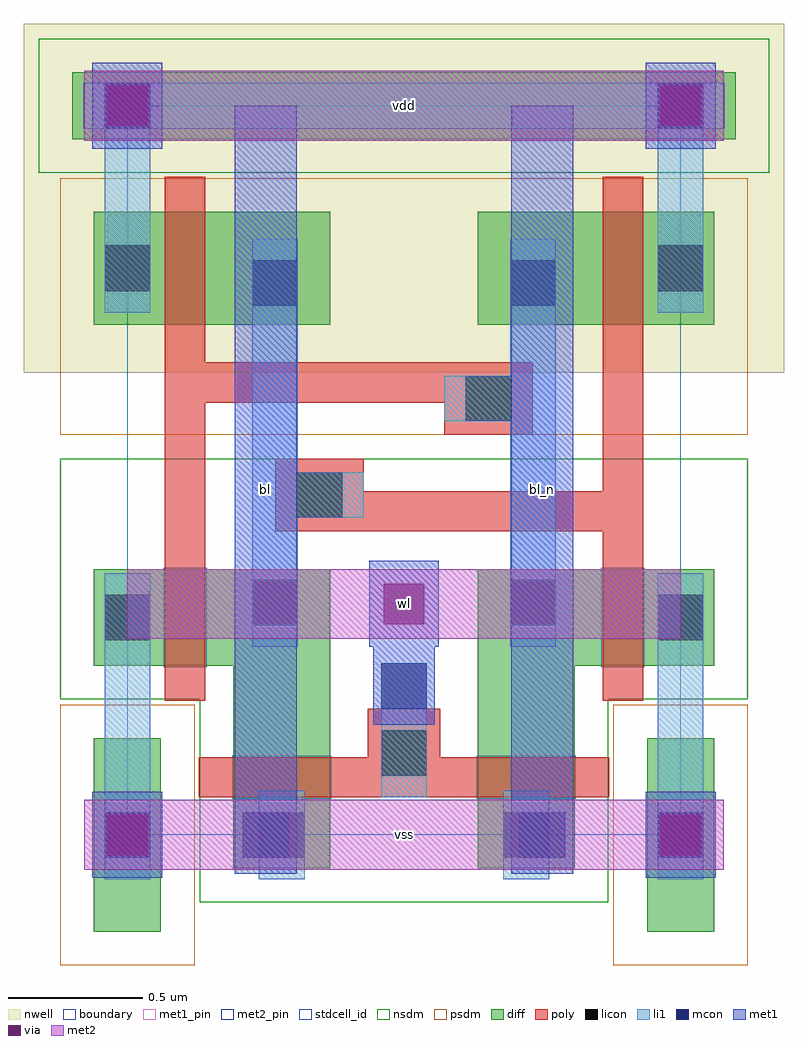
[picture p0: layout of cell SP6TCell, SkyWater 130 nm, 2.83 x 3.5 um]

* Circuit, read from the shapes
.subckt SP6TCell bl bl_n vdd vss wl
XM1 n1 n2 vss VSUBS sky130_fd_pr__nfet_01v8 w=0.36 l=0.15
XM2 n1 wl bl VSUBS sky130_fd_pr__nfet_01v8 w=0.36 l=0.15
XM3 n2 wl bl_n VSUBS sky130_fd_pr__nfet_01v8 w=0.36 l=0.15
XM4 vss n1 n2 VSUBS sky130_fd_pr__nfet_01v8 w=0.36 l=0.15
XM5 n1 n2 vdd n3 sky130_fd_pr__pfet_01v8 w=0.42 l=0.15
XM6 vdd n1 n2 n3 sky130_fd_pr__pfet_01v8 w=0.42 l=0.15
.ends

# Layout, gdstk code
import gdstk
lib = gdstk.Library(unit=1e-6, precision=1e-09)
def R(c, l, rs):  # rectangles x0, y0, x1, y1
    for r in rs: c.add(gdstk.rectangle(r[:2], r[2:], *l))
def P(c, l, *ps):  # polygons
    for p in ps: c.add(gdstk.Polygon(p, *l))
nwell = (64, 20)
diff = (65, 20)
poly = (66, 20)
licon = (66, 44)
li1 = (67, 20)
mcon = (67, 44)
met1_pin = (68, 16)
met1 = (68, 20)
via = (68, 44)
met2_pin = (69, 16)
met2 = (69, 20)
stdcell_id = (81, 4)
nsdm = (93, 44)
psdm = (94, 20)
boundary = (235, 4)

sp6tcell = lib.new_cell('SP6TCell')
R(sp6tcell, nwell, [(-0.385,1.72,2.445,3.02)])
R(sp6tcell, diff, [(-0.125,-0.36,0.125,0.36), (1.935,-0.36,2.185,0.36), (-0.125,1.9,0.755,2.32), (1.305,1.9,2.185,2.32), (-0.205,2.59,2.265,2.84)])
P(sp6tcell, diff, [(1.305,-0.125),(1.305,0.99),(2.185,0.99),(2.185,0.63),(1.665,0.63),(1.665,-0.125)],
  [(0.395,-0.125),(0.395,0.63),(-0.125,0.63),(-0.125,0.99),(0.755,0.99),(0.755,-0.125)])
P(sp6tcell, poly, [(1.77,0.5),(1.77,1.13),(0.55,1.13),(0.55,1.4),(0.88,1.4),(0.88,1.28),(1.77,1.28),(1.77,2.45),(1.92,2.45),(1.92,0.5)],
  [(0.14,0.5),(0.14,2.45),(0.29,2.45),(0.29,1.76),(1.51,1.76),(1.51,1.49),(1.18,1.49),(1.18,1.61),(0.29,1.61),(0.29,0.5)],
  [(0.265,0.14),(0.265,0.29),(0.895,0.29),(0.895,0.47),(1.165,0.47),(1.165,0.29),(1.795,0.29),(1.795,0.14)])
R(sp6tcell, licon, [(-0.085,-0.085,0.085,0.085), (0.49,-0.085,0.66,0.085), (1.4,-0.085,1.57,0.085), (1.975,-0.085,2.145,0.085), (0.945,0.22,1.115,0.39), (-0.085,0.725,0.085,0.895), (1.975,0.725,2.145,0.895), (0.465,0.78,0.635,0.95), (1.425,0.78,1.595,0.95), (0.63,1.18,0.8,1.35), (1.26,1.54,1.43,1.71), (0.465,1.97,0.635,2.14), (1.425,1.97,1.595,2.14), (-0.085,2.025,0.085,2.195), (1.975,2.025,2.145,2.195), (-0.085,2.63,0.085,2.8), (1.975,2.63,2.145,2.8)])
R(sp6tcell, li1, [(-0.085,-0.165,0.085,0.975), (1.975,-0.165,2.145,0.975), (0.945,0.14,1.115,0.64)])
P(sp6tcell, li1, [(0.465,0.7),(0.465,2.22),(0.635,2.22),(0.635,1.35),(0.88,1.35),(0.88,1.18),(0.635,1.18),(0.635,0.7)],
  [(1.425,0.7),(1.425,1.54),(1.18,1.54),(1.18,1.71),(1.425,1.71),(1.425,2.22),(1.595,2.22),(1.595,0.7)],
  [(-0.085,1.945),(-0.085,2.63),(-0.165,2.63),(-0.165,2.8),(2.225,2.8),(2.225,2.63),(2.145,2.63),(2.145,1.945),(1.975,1.945),(1.975,2.63),(0.085,2.63),(0.085,1.945)],
  [(0.49,-0.165),(0.49,-0.085),(0.43,-0.085),(0.43,0.085),(0.49,0.085),(0.49,0.165),(0.66,0.165),(0.66,-0.165)],
  [(1.4,-0.165),(1.4,0.165),(1.57,0.165),(1.57,0.085),(1.63,0.085),(1.63,-0.085),(1.57,-0.085),(1.57,-0.165)])
R(sp6tcell, mcon, [(-0.085,-0.085,0.085,0.085), (0.43,-0.085,0.6,0.085), (1.46,-0.085,1.63,0.085), (1.975,-0.085,2.145,0.085), (0.945,0.47,1.115,0.64), (-0.085,2.63,0.085,2.8), (1.975,2.63,2.145,2.8)])
R(sp6tcell, met1_pin, [(0.4,-0.145,0.63,2.715), (1.43,-0.145,1.66,2.715)])
R(sp6tcell, met1, [(-0.13,-0.16,0.13,0.16), (1.93,-0.16,2.19,0.16), (0.4,-0.145,0.63,2.715), (1.43,-0.145,1.66,2.715), (-0.13,2.555,0.13,2.875), (1.93,2.555,2.19,2.875)])
P(sp6tcell, met1, [(0.915,0.41),(0.915,0.7),(0.9,0.7),(0.9,1.02),(1.16,1.02),(1.16,0.7),(1.145,0.7),(1.145,0.41)])
R(sp6tcell, via, [(-0.075,-0.075,0.075,0.075), (1.985,-0.075,2.135,0.075), (0.955,0.785,1.105,0.935), (-0.075,2.64,0.075,2.79), (1.985,2.64,2.135,2.79)])
R(sp6tcell, met2_pin, [(-0.16,-0.13,2.22,0.13), (0,0.73,2.06,0.99), (-0.16,2.585,2.22,2.845)])
R(sp6tcell, met2, [(-0.16,-0.13,2.22,0.13), (0,0.73,2.06,0.99), (-0.16,2.585,2.22,2.845)])
R(sp6tcell, stdcell_id, [(0.39,0.135,0.76,0.295), (1.3,0.135,1.67,0.295), (0.135,0.625,0.295,0.995), (1.765,0.625,1.925,0.995)])
R(sp6tcell, nsdm, [(-0.33,2.465,2.39,2.965)])
P(sp6tcell, nsdm, [(0.27,-0.25),(0.27,0.505),(-0.25,0.505),(-0.25,1.4),(2.31,1.4),(2.31,0.505),(1.79,0.505),(1.79,-0.25)])
R(sp6tcell, psdm, [(-0.25,-0.485,0.25,0.485), (1.81,-0.485,2.31,0.485), (-0.25,1.49,2.31,2.445)])
R(sp6tcell, boundary, [(0,0,2.06,2.715)])
sp6tcell.add(gdstk.Label('vss', (1.03,0), layer=69, texttype=16))
sp6tcell.add(gdstk.Label('vdd', (1.03,2.715), layer=69, texttype=16))
sp6tcell.add(gdstk.Label('wl', (1.03,0.86), layer=69, texttype=16))
sp6tcell.add(gdstk.Label('bl', (0.515,1.285), layer=68, texttype=16))
sp6tcell.add(gdstk.Label('bl_n', (1.545,1.285), layer=68, texttype=16))

lib.write_gds('SP6TCell.gds')
